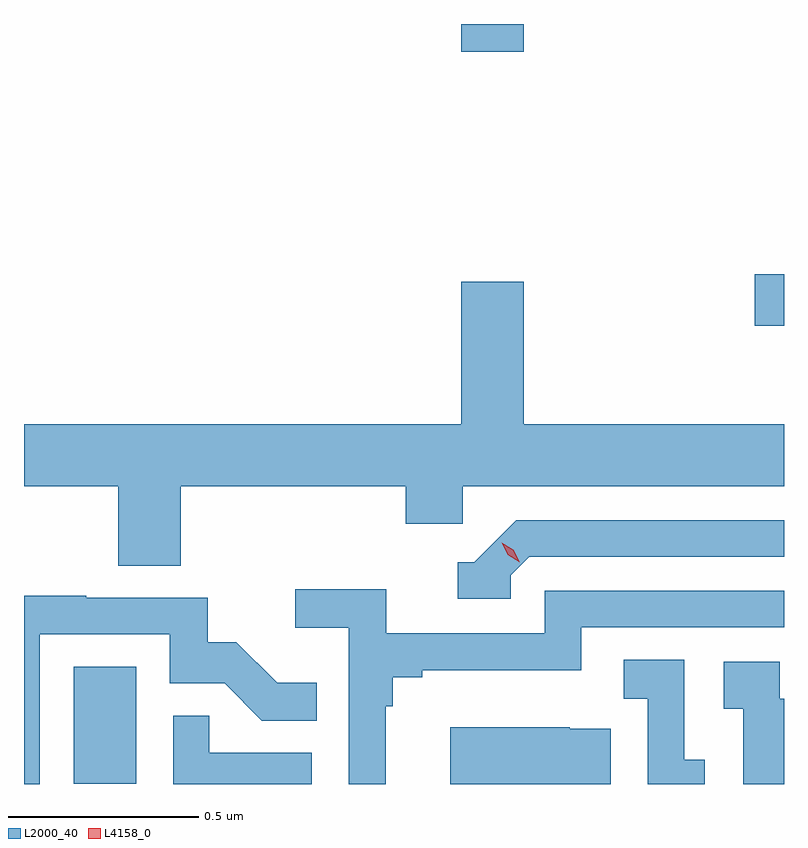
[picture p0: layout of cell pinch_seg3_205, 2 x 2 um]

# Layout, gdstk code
import gdstk
lib = gdstk.Library(unit=1e-6, precision=1e-09)
def R(c, l, rs):  # rectangles x0, y0, x1, y1
    for r in rs: c.add(gdstk.rectangle(r[:2], r[2:], *l))
def P(c, l, *ps):  # polygons
    for p in ps: c.add(gdstk.Polygon(p, *l))
L2000_40 = (2000, 40)
L4158_0 = (4158, 0)

pinch_seg3_205 = lib.new_cell('pinch_seg3_205')
R(pinch_seg3_205, L2000_40, [(955.196,729.438,955.36,729.745), (956.988,730.643,957.065,730.778), (956.216,731.364,956.38,731.437)])
P(pinch_seg3_205, L2000_40, [(956.216,730.384),(955.065,730.384),(955.065,730.22),(955.313,730.22),(955.313,730.012),(955.478,730.012),(955.478,730.22),(956.069,730.22),(956.069,730.122),(956.22,730.122),(956.22,730.22),(957.065,730.22),(957.065,730.384),(956.38,730.384),(956.38,730.759),(956.216,730.759)],
  [(956.346,729.987),(956.394,730.035),(957.065,730.035),(957.065,730.131),(956.361,730.131),(956.25,730.02),(956.207,730.02),(956.207,729.924),(956.346,729.924)],
  [(956.017,729.641),(956.036,729.641),(956.036,729.718),(956.113,729.718),(956.113,729.737),(956.532,729.737),(956.532,729.849),(957.065,729.849),(957.065,729.945),(956.436,729.945),(956.436,729.834),(956.018,729.834),(956.018,729.95),(955.779,729.95),(955.779,729.848),(955.92,729.848),(955.92,729.437),(956.017,729.437)],
  [(955.107,729.831),(955.449,729.831),(955.449,729.702),(955.593,729.702),(955.691,729.604),(955.835,729.604),(955.835,729.703),(955.731,729.703),(955.624,729.81),(955.548,729.81),(955.548,729.927),(955.229,729.927),(955.229,729.932),(955.065,729.932),(955.065,729.437),(955.107,729.437)],
  [(956.857,729.501),(956.802,729.501),(956.802,729.764),(956.643,729.764),(956.643,729.661),(956.706,729.661),(956.706,729.437),(956.857,729.437)],
  [(957.065,729.661),(957.054,729.661),(957.054,729.759),(956.907,729.759),(956.907,729.635),(956.958,729.635),(956.958,729.437),(957.065,729.437)],
  [(955.822,729.519),(955.553,729.519),(955.553,729.617),(955.458,729.617),(955.458,729.437),(955.822,729.437)],
  [(956.609,729.583),(956.501,729.583),(956.501,729.586),(956.187,729.586),(956.187,729.437),(956.609,729.437)])
P(pinch_seg3_205, L4158_0, [(956.369,730.021),(956.338,730.04),(956.322,730.072),(956.322,730.072),(956.322,730.072),(956.353,730.053),(956.369,730.021),(956.369,730.021)])

lib.write_gds('pinch_seg3_205.gds')
